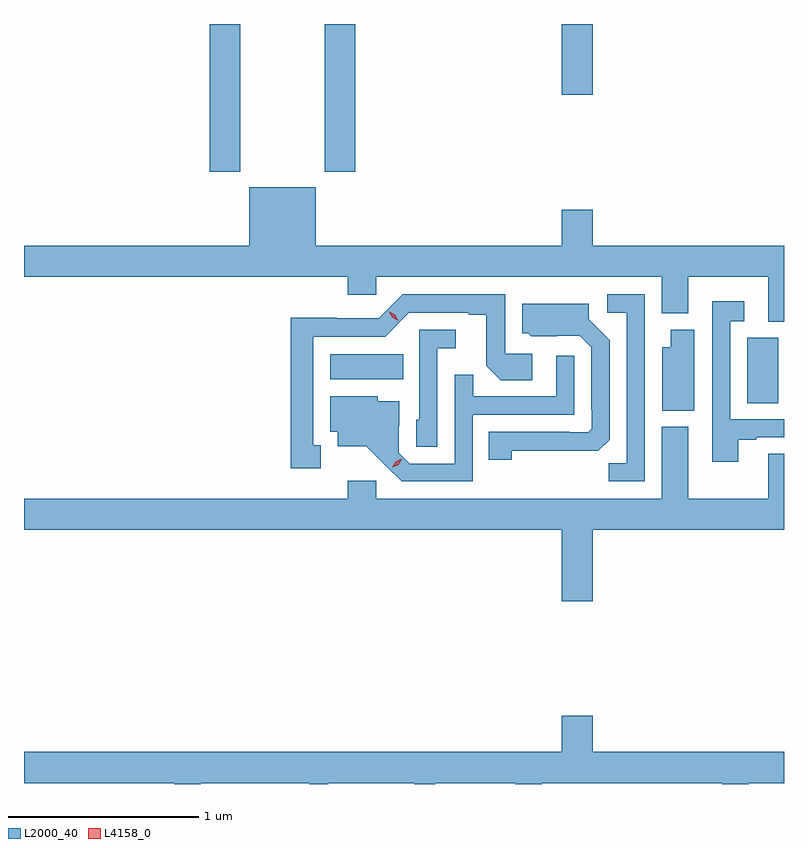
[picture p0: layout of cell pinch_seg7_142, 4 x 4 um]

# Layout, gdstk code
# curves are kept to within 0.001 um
import gdstk
lib = gdstk.Library(unit=1e-6, precision=1e-09)
def R(c, l, rs):  # rectangles x0, y0, x1, y1
    for r in rs: c.add(gdstk.rectangle(r[:2], r[2:], *l))
def P(c, l, *ps):  # polygons
    for p in ps: c.add(gdstk.Polygon(p, *l))
L2000_40 = (2000, 40)
L4158_0 = (4158, 0)

pinch_seg7_142 = lib.new_cell('pinch_seg7_142')
R(pinch_seg7_142, L2000_40, [(1041.11,1018.6,1041.274,1018.944), (1038.914,1018.724,1039.298,1018.858), (1038.281,1019.817,1038.441,1020.595), (1038.886,1019.817,1039.046,1020.595), (1040.132,1020.222,1040.296,1020.595)])
P(pinch_seg7_142, L2000_40, [(1041.303,1019.428),(1040.296,1019.428),(1040.296,1019.617),(1040.132,1019.617),(1040.132,1019.428),(1038.838,1019.428),(1038.838,1019.737),(1038.488,1019.737),(1038.488,1019.428),(1037.303,1019.428),(1037.303,1019.264),(1039.007,1019.264),(1039.007,1019.171),(1039.158,1019.171),(1039.158,1019.264),(1040.66,1019.264),(1040.66,1019.072),(1040.8,1019.072),(1040.8,1019.264),(1041.221,1019.264),(1041.221,1019.029),(1041.303,1019.029)],
  [(1040.571,1019.172),(1040.373,1019.172),(1040.373,1019.076),(1040.475,1019.076),(1040.475,1018.283),(1040.38,1018.283),(1040.38,1018.188),(1040.571,1018.188)],
  [(1038.865,1018.377),(1038.826,1018.377),(1038.826,1018.95),(1039.203,1018.95),(1039.329,1019.076),(1039.643,1019.076),(1039.643,1019.064),(1039.737,1019.064),(1039.737,1018.796),(1039.813,1018.72),(1039.978,1018.72),(1039.978,1018.86),(1039.836,1018.86),(1039.836,1019.172),(1039.296,1019.172),(1039.17,1019.046),(1038.948,1019.046),(1038.948,1019.048),(1038.708,1019.048),(1038.708,1018.257),(1038.865,1018.257)],
  [(1041.061,1018.407),(1041.157,1018.407),(1041.157,1018.419),(1041.303,1018.419),(1041.303,1018.515),(1041.021,1018.515),(1041.021,1019.031),(1041.094,1019.031),(1041.094,1019.137),(1040.925,1019.137),(1040.925,1018.29),(1041.061,1018.29)],
  [(1039.869,1018.348),(1040.326,1018.349),(1040.385,1018.408),(1040.385,1018.93),(1040.275,1019.04),(1040.275,1019.122),(1039.925,1019.122),(1039.925,1018.968),(1039.956,1018.968),(1039.972,1018.952),(1040.229,1018.953),(1040.289,1018.893),(1040.289,1018.564),(1040.292,1018.564),(1040.292,1018.464),(1040.274,1018.446),(1040.174,1018.446),(1040.174,1018.449),(1039.75,1018.449),(1039.75,1018.302),(1039.869,1018.302)],
  [(1040.83,1018.987),(1040.708,1018.987),(1040.708,1018.894),(1040.663,1018.894),(1040.663,1018.559),(1040.83,1018.559)],
  [(1039.479,1018.889),(1039.576,1018.889),(1039.576,1018.986),(1039.383,1018.986),(1039.383,1018.512),(1039.368,1018.512),(1039.368,1018.369),(1039.479,1018.369)],
  [(1039.665,1018.539),(1040.199,1018.539),(1040.199,1018.849),(1040.103,1018.849),(1040.103,1018.635),(1039.667,1018.635),(1039.667,1018.748),(1039.569,1018.748),(1039.569,1018.281),(1039.332,1018.281),(1039.275,1018.338),(1039.275,1018.48),(1039.279,1018.48),(1039.279,1018.609),(1039.164,1018.609),(1039.164,1018.636),(1038.914,1018.636),(1038.914,1018.449),(1038.953,1018.449),(1038.953,1018.373),(1039.105,1018.373),(1039.292,1018.188),(1039.665,1018.188)],
  [(1039.158,1018.192),(1039.007,1018.192),(1039.007,1018.096),(1037.303,1018.096),(1037.303,1017.932),(1040.132,1017.932),(1040.132,1017.558),(1040.296,1017.558),(1040.296,1017.932),(1041.303,1017.932),(1041.303,1018.334),(1041.221,1018.334),(1041.221,1018.096),(1040.8,1018.096),(1040.8,1018.474),(1040.66,1018.474),(1040.66,1018.096),(1039.158,1018.096)],
  [(1038.232,1016.6),(1038.805,1016.6),(1038.805,1016.595),(1038.905,1016.595),(1038.905,1016.6),(1039.358,1016.6),(1039.358,1016.595),(1039.468,1016.595),(1039.468,1016.6),(1039.889,1016.6),(1039.889,1016.595),(1040.029,1016.595),(1040.029,1016.6),(1040.979,1016.6),(1040.979,1016.595),(1041.118,1016.595),(1041.118,1016.6),(1041.303,1016.6),(1041.303,1016.764),(1040.296,1016.764),(1040.296,1016.953),(1040.132,1016.953),(1040.132,1016.764),(1037.303,1016.764),(1037.303,1016.6),(1038.093,1016.6),(1038.093,1016.595),(1038.232,1016.595)])
P(pinch_seg7_142, L4158_0, [(1039.242,1018.261),(1039.242,1018.262),(1039.26,1018.291),(1039.29,1018.306),(1039.291,1018.306),(1039.291,1018.305),(1039.273,1018.276),(1039.243,1018.261)],
  [(1039.272,1019.033),(1039.24,1019.052),(1039.223,1019.084),(1039.223,1019.084),(1039.223,1019.084),(1039.255,1019.066),(1039.272,1019.033),(1039.272,1019.033)])

lib.write_gds('pinch_seg7_142.gds')
